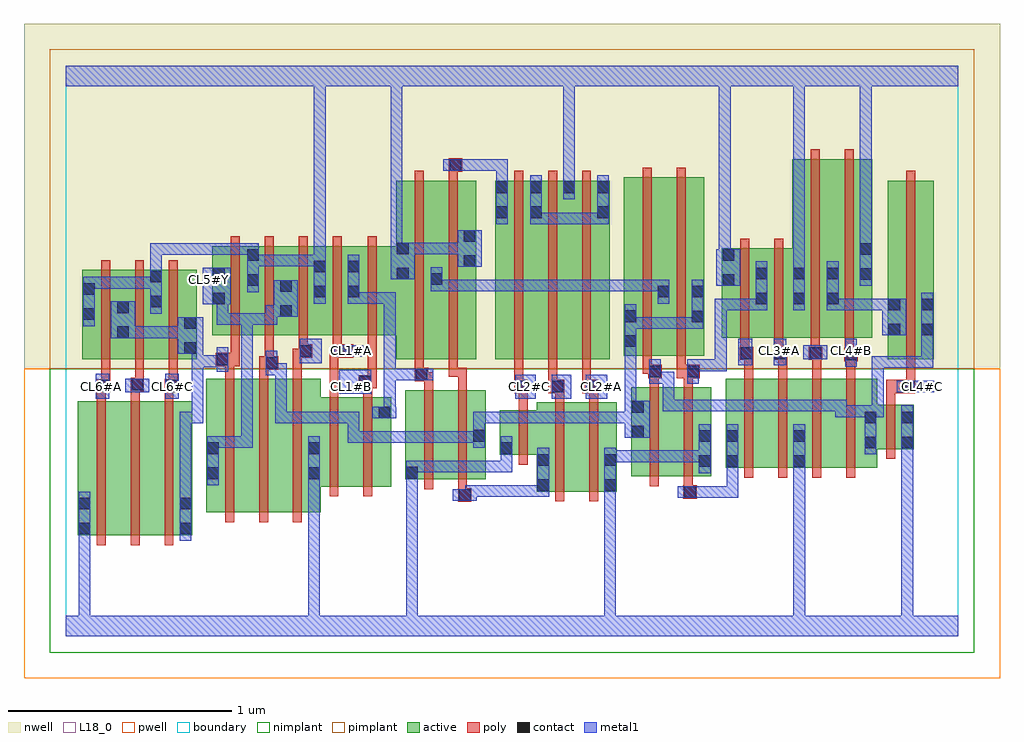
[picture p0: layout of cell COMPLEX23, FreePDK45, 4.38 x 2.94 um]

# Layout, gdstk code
import gdstk
lib = gdstk.Library(unit=1e-6, precision=1e-09)
def R(c, l, rs):  # rectangles x0, y0, x1, y1
    for r in rs: c.add(gdstk.rectangle(r[:2], r[2:], *l))
def A(c, l, x, y, w, h, nx, ny, dx, dy):  # array of equal rectangles
    R(c, l, [(x+i*dx, y+j*dy, x+i*dx+w, y+j*dy+h) for i in range(nx) for j in range(ny)])
active = (1, 0)
pwell = (2, 0)
nwell = (3, 0)
nimplant = (4, 0)
pimplant = (5, 0)
poly = (9, 0)
contact = (10, 0)
metal1 = (11, 0)
L18_0 = (18, 0)
boundary = (235, 0)

complex23 = lib.new_cell('COMPLEX23')
R(complex23, active, [(0.054,0.454,0.234,1.054), (0.054,0.454,0.114,1.054), (0.234,0.454,0.386,1.054), (0.386,0.454,0.566,1.054), (0.506,0.454,0.566,1.054), (0.63,0.556,0.81,1.156), (0.63,0.556,0.69,1.156), (0.81,0.556,0.962,1.156), (0.962,0.556,1.142,1.156), (1.082,0.6,1.142,0.874), (2.11,0.65,2.29,1.05), (2.11,0.65,2.17,1.014), (2.29,0.65,2.47,1.05), (2.41,0.65,2.47,1.05), (1.082,0.672,1.278,1.072), (1.278,0.672,1.458,1.072), (1.522,0.704,1.702,1.104), (1.522,0.704,1.582,0.764), (1.702,0.704,1.882,1.104), (2.534,0.718,2.714,1.118), (2.714,0.718,2.894,1.118), (1.398,0.756,1.458,1.072), (1.822,0.756,1.882,1.104), (2.534,0.756,2.594,1.118), (2.834,0.756,2.894,1.118), (2.958,0.756,3.138,1.156), (2.958,0.756,3.018,1.156), (3.138,0.756,3.318,1.156), (3.258,0.756,3.442,1.156), (3.258,0.756,3.318,0.928), (3.442,0.756,3.638,1.156), (3.578,0.812,3.638,1.012), (1.946,0.814,2.006,1.014), (1.946,0.814,2.17,1.014), (3.578,0.84,3.802,1.04), (3.742,0.84,3.802,1.04), (0.074,1.244,0.134,1.644), (0.074,1.244,0.286,1.644), (0.226,1.244,0.434,1.644), (0.374,1.244,0.586,1.644), (0.526,1.244,0.586,1.644), (1.48,1.244,1.692,2.044), (1.632,1.244,1.84,2.044), (1.78,1.244,1.84,2.044), (1.926,1.244,1.986,2.044), (1.926,1.244,2.138,2.044), (2.078,1.244,2.286,2.044), (2.226,1.244,2.438,2.044), (3.684,1.244,3.744,2.044), (3.684,1.244,3.892,2.044), (3.832,1.244,3.892,2.044), (2.502,1.258,2.71,2.058), (2.502,1.258,2.562,2.044), (2.65,1.258,2.71,2.058), (2.65,1.258,2.862,2.058), (2.802,1.258,2.862,2.058), (0.226,1.334,0.286,1.644), (2.94,1.34,3,1.74), (2.94,1.34,3.148,1.74), (3.088,1.34,3.148,1.74), (3.088,1.34,3.316,1.74), (3.256,1.34,3.316,2.14), (3.256,1.34,3.468,2.14), (3.408,1.34,3.616,2.14), (3.408,1.34,3.468,2.044), (3.556,1.34,3.616,2.14), (0.656,1.35,0.716,1.75), (0.656,1.35,0.868,1.75), (0.808,1.35,1.016,1.75), (0.808,1.35,0.868,1.74), (0.956,1.35,1.168,1.75), (0.956,1.35,1.016,1.644), (1.108,1.35,1.168,1.75), (1.108,1.35,1.32,1.75), (1.26,1.35,1.54,1.75), (1.26,1.35,1.32,1.688), (1.48,1.35,1.54,1.77), (0.374,1.354,0.434,1.644), (1.632,1.572,1.692,2.044), (2.078,1.682,2.138,2.044), (2.226,1.686,2.286,2.044), (2.378,1.686,2.438,2.044)])
R(complex23, pwell, [(-0.188,-0.188,4.188,1.2)])
R(complex23, nwell, [(-0.188,1.2,4.188,2.748)])
R(complex23, nimplant, [(-0.072,-0.072,4.072,1.2)])
R(complex23, pimplant, [(-0.072,1.2,4.072,2.632)])
A(complex23, poly, 0.138, 0.41, 0.04, 0.688, 3, 1, 0.152, 0)
A(complex23, poly, 0.714, 0.512, 0.04, 0.688, 3, 1, 0.152, 0)
A(complex23, poly, 3.042, 0.712, 0.04, 0.488, 4, 1, 0.152, 0)
A(complex23, poly, 2.01, 1.11, 0.04, 0.13, 3, 1, 0.152, 0)
A(complex23, poly, 3.042, 1.16, 0.04, 0.12, 3, 1, 0.152, 0)
A(complex23, poly, 0.158, 1.2, 0.04, 0.488, 3, 1, 0.152, 0)
A(complex23, poly, 2.01, 1.2, 0.04, 0.888, 3, 1, 0.152, 0)
A(complex23, poly, 0.74, 1.306, 0.04, 0.488, 4, 1, 0.152, 0)
R(complex23, poly, [(1.758,0.604,1.818,0.664), (2.194,0.606,2.234,1.094), (2.346,0.606,2.386,1.094), (2.768,0.618,2.828,0.678), (1.758,0.624,1.798,0.7), (1.182,0.628,1.222,1.116), (1.334,0.628,1.374,1.116), (2.77,0.638,2.81,0.714), (1.606,0.66,1.646,1.148), (1.758,0.66,1.798,1.148), (2.618,0.674,2.658,1.162), (2.77,0.674,2.81,1.162), (2.03,0.77,2.07,1.058), (3.678,0.796,3.718,1.084), (2.03,1.018,2.07,1.13), (3.678,1.044,3.718,1.13), (2.194,1.054,2.234,1.13), (2.346,1.054,2.386,1.13), (0.138,1.058,0.178,1.134), (0.29,1.058,0.33,1.14), (0.442,1.058,0.482,1.134), (1.182,1.076,1.222,1.29), (1.334,1.076,1.374,1.152), (2.01,1.09,2.07,1.15), (2.03,1.09,2.07,1.13), (2.03,1.09,2.07,1.13), (2.162,1.09,2.234,1.15), (2.194,1.09,2.234,1.13), (2.194,1.09,2.234,1.13), (2.314,1.09,2.386,1.15), (2.346,1.09,2.386,1.13), (2.346,1.09,2.386,1.13), (3.678,1.09,3.808,1.15), (0.138,1.094,0.178,1.134), (0.138,1.094,0.178,1.134), (0.138,1.094,0.198,1.154), (0.442,1.094,0.482,1.134), (0.442,1.094,0.482,1.134), (0.442,1.094,0.502,1.154), (0.29,1.1,0.33,1.14), (0.29,1.1,0.33,1.14), (0.29,1.1,0.35,1.16), (1.606,1.108,1.646,1.184), (1.758,1.108,1.798,1.204), (3.768,1.11,3.808,1.24), (3.768,1.11,3.808,1.15), (3.768,1.11,3.808,1.15), (1.312,1.112,1.394,1.172), (0.158,1.114,0.198,1.24), (0.462,1.114,0.502,1.24), (0.31,1.12,0.35,1.24), (2.618,1.122,2.658,1.198), (2.77,1.122,2.81,1.198), (1.354,1.132,1.394,1.172), (1.354,1.132,1.394,1.172), (1.354,1.132,1.394,1.346), (1.564,1.144,1.624,1.204), (1.584,1.144,1.624,1.184), (1.584,1.144,1.646,1.184), (2.612,1.158,2.672,1.218), (2.738,1.158,2.842,1.218), (2.77,1.158,2.81,1.198), (2.77,1.158,2.81,1.198), (0.714,1.16,0.754,1.252), (0.866,1.16,0.906,1.236), (1.018,1.16,1.058,1.29), (3.498,1.16,3.538,1.274), (1.564,1.164,1.604,1.24), (1.716,1.164,1.756,1.204), (1.716,1.164,1.756,1.204), (1.716,1.164,1.756,1.24), (1.716,1.164,1.798,1.204), (2.586,1.178,2.626,1.254), (2.586,1.178,2.652,1.218), (2.612,1.178,2.652,1.218), (2.738,1.178,2.778,1.254), (0.866,1.196,0.952,1.256), (1.564,1.2,1.604,2.088), (1.716,1.2,1.756,2.088), (3.768,1.2,3.808,2.088), (0.672,1.212,0.78,1.272), (0.714,1.212,0.754,1.252), (0.714,1.212,0.754,1.252), (2.586,1.214,2.626,2.102), (2.738,1.214,2.778,2.102), (0.892,1.216,0.932,1.346), (0.892,1.216,0.932,1.256), (0.892,1.216,0.932,1.256), (0.74,1.232,0.78,1.346), (3.49,1.234,3.55,1.294), (3.498,1.234,3.538,1.274), (3.498,1.234,3.538,1.274), (3.022,1.24,3.082,1.3), (3.042,1.24,3.082,1.28), (3.042,1.24,3.082,1.28), (3.174,1.24,3.234,1.3), (3.194,1.24,3.234,1.28), (3.194,1.24,3.234,1.28), (3.33,1.24,3.39,1.3), (3.346,1.24,3.386,1.28), (3.346,1.24,3.386,1.28), (1.018,1.25,1.084,1.29), (1.044,1.25,1.084,1.29), (1.044,1.25,1.104,1.31), (1.182,1.25,1.236,1.29), (1.196,1.25,1.236,1.29), (1.196,1.25,1.288,1.31), (3.492,1.254,3.532,1.336), (3.024,1.26,3.064,1.336), (3.176,1.26,3.216,1.336), (3.34,1.26,3.38,1.336), (1.044,1.27,1.084,1.346), (1.196,1.27,1.236,1.346), (3.024,1.296,3.064,1.784), (3.176,1.296,3.216,1.784), (3.34,1.296,3.38,2.184), (3.492,1.296,3.532,2.184), (1.354,1.306,1.394,1.794), (1.716,2.048,1.756,2.124), (1.716,2.084,1.776,2.144)])
R(complex23, contact, [(0.058,0.458,0.11,0.51), (0.51,0.458,0.562,0.51), (0.058,0.57,0.11,0.622), (0.51,0.57,0.562,0.622), (1.762,0.608,1.814,0.66), (2.772,0.622,2.824,0.674), (2.114,0.654,2.166,0.706), (2.414,0.654,2.466,0.706), (0.634,0.706,0.686,0.758), (1.086,0.706,1.138,0.758), (1.526,0.708,1.578,0.76), (2.838,0.76,2.89,0.812), (2.962,0.76,3.014,0.812), (3.262,0.76,3.314,0.812), (2.114,0.766,2.166,0.818), (2.414,0.766,2.466,0.818), (0.634,0.818,0.686,0.87), (1.086,0.818,1.138,0.87), (1.95,0.818,2.002,0.87), (3.582,0.844,3.634,0.896), (3.746,0.844,3.798,0.896), (2.838,0.872,2.89,0.924), (2.962,0.872,3.014,0.924), (3.262,0.872,3.314,0.924), (1.826,0.874,1.878,0.926), (2.538,0.892,2.59,0.944), (3.582,0.956,3.634,1.008), (3.746,0.956,3.798,1.008), (1.402,0.978,1.454,1.03), (2.538,1.004,2.59,1.056), (2.014,1.094,2.066,1.146), (2.178,1.094,2.23,1.146), (2.33,1.094,2.382,1.146), (3.752,1.094,3.804,1.146), (0.142,1.098,0.194,1.15), (0.446,1.098,0.498,1.15), (0.294,1.104,0.346,1.156), (1.316,1.116,1.368,1.168), (1.568,1.148,1.62,1.2), (2.616,1.162,2.668,1.214), (2.786,1.162,2.838,1.214), (0.896,1.2,0.948,1.252), (0.676,1.216,0.728,1.268), (3.494,1.238,3.546,1.29), (3.026,1.244,3.078,1.296), (3.178,1.244,3.23,1.296), (3.334,1.244,3.386,1.296), (1.048,1.254,1.1,1.306), (1.232,1.254,1.284,1.306), (0.53,1.268,0.582,1.32), (2.506,1.298,2.558,1.35), (0.23,1.338,0.282,1.39), (3.688,1.35,3.74,1.402), (3.836,1.35,3.888,1.402), (0.53,1.38,0.582,1.432), (2.806,1.408,2.858,1.46), (2.506,1.41,2.558,1.462), (0.078,1.42,0.13,1.472), (0.96,1.434,1.012,1.486), (0.23,1.45,0.282,1.502), (3.688,1.462,3.74,1.514), (3.836,1.462,3.888,1.514), (0.378,1.476,0.43,1.528), (0.66,1.49,0.712,1.542), (3.092,1.49,3.144,1.542), (3.26,1.49,3.312,1.542), (3.412,1.49,3.464,1.542), (1.112,1.52,1.164,1.572), (1.264,1.52,1.316,1.572), (2.654,1.52,2.706,1.572), (2.806,1.52,2.858,1.572), (0.078,1.532,0.13,1.584), (0.96,1.546,1.012,1.598), (0.812,1.572,0.864,1.624), (2.944,1.572,2.996,1.624), (1.636,1.576,1.688,1.628), (0.378,1.588,0.43,1.64), (3.56,1.6,3.612,1.652), (0.66,1.602,0.712,1.654), (1.484,1.602,1.536,1.654), (3.092,1.602,3.144,1.654), (3.26,1.602,3.312,1.654), (3.412,1.602,3.464,1.654), (1.112,1.632,1.164,1.684), (1.264,1.632,1.316,1.684), (1.784,1.658,1.836,1.71), (0.812,1.684,0.864,1.736), (2.944,1.684,2.996,1.736), (3.56,1.712,3.612,1.764), (1.484,1.714,1.536,1.766), (1.784,1.77,1.836,1.822), (1.93,1.876,1.982,1.928), (2.082,1.876,2.134,1.928), (2.382,1.876,2.434,1.928), (1.93,1.988,1.982,2.04), (2.082,1.988,2.134,2.04), (2.23,1.988,2.282,2.04), (2.382,1.988,2.434,2.04), (1.72,2.088,1.772,2.14)])
A(complex23, metal1, 1.536, 0.736, 0.052, 0.052, 3, 1, 0.11, 0)
A(complex23, metal1, 1.426, 0.868, 0.052, 0.052, 3, 1, 0.11, 0)
R(complex23, metal1, [(0,0,4,0.092), (0.058,0.04,0.11,0.092), (0.058,0.04,0.11,0.092), (0.058,0.04,0.11,0.092), (0.058,0.04,0.11,0.092), (0.058,0.04,0.11,0.092), (0.058,0.04,0.11,0.092), (0.058,0.04,0.11,0.482), (1.086,0.04,1.138,0.092), (1.086,0.04,1.138,0.092), (1.086,0.04,1.138,0.73), (1.526,0.04,1.578,0.092), (1.526,0.04,1.578,0.092), (1.526,0.04,1.578,0.092), (1.526,0.04,1.578,0.092), (1.526,0.04,1.578,0.718), (2.414,0.04,2.466,0.092), (2.414,0.04,2.466,0.092), (2.414,0.04,2.466,0.092), (2.414,0.04,2.466,0.092), (2.414,0.04,2.466,0.092), (2.414,0.04,2.466,0.092), (2.414,0.04,2.466,0.678), (3.262,0.04,3.314,0.092), (3.262,0.04,3.314,0.092), (3.262,0.04,3.314,0.092), (3.262,0.04,3.314,0.092), (3.262,0.04,3.314,0.092), (3.262,0.04,3.314,0.092), (3.262,0.04,3.314,0.092), (3.262,0.04,3.314,0.092), (3.262,0.04,3.314,0.092), (3.262,0.04,3.314,0.092), (3.262,0.04,3.314,0.784), (3.746,0.04,3.798,0.092), (3.746,0.04,3.798,0.092), (3.746,0.04,3.798,0.092), (3.746,0.04,3.798,0.092), (3.746,0.04,3.798,0.092), (3.746,0.04,3.798,0.092), (3.746,0.04,3.798,0.092), (3.746,0.04,3.798,0.092), (3.746,0.04,3.798,0.092), (3.746,0.04,3.798,0.092), (3.746,0.04,3.798,0.092), (3.746,0.04,3.798,0.092), (3.746,0.04,3.798,0.092), (3.746,0.04,3.798,0.092), (3.746,0.04,3.798,0.092), (3.746,0.04,3.798,0.092), (3.746,0.04,3.798,0.868), (0.058,0.43,0.11,0.65), (0.058,0.43,0.11,0.482), (0.058,0.43,0.11,0.482), (0.51,0.43,0.562,0.65), (0.51,0.598,0.562,1.008), (1.734,0.608,1.842,0.66), (1.79,0.608,1.842,0.66), (1.79,0.608,1.842,0.66), (1.79,0.608,1.842,0.678), (2.744,0.622,2.852,0.674), (2.8,0.622,2.852,0.674), (2.8,0.622,2.852,0.674), (2.8,0.622,3.014,0.674), (2.962,0.622,3.014,0.674), (2.962,0.622,3.014,0.784), (1.79,0.626,1.842,0.678), (1.79,0.626,1.958,0.678), (1.906,0.626,1.958,0.678), (1.906,0.626,2.112,0.678), (2.06,0.626,2.112,0.678), (2.06,0.626,2.166,0.678), (2.114,0.626,2.166,0.846), (2.414,0.626,2.466,0.846), (2.414,0.626,2.466,0.678), (2.414,0.626,2.466,0.678), (2.414,0.626,2.466,0.678), (2.414,0.626,2.466,0.678), (2.414,0.626,2.466,0.678), (2.414,0.626,2.466,0.678), (1.526,0.666,1.578,0.718), (1.526,0.666,1.578,0.718), (1.526,0.666,1.578,0.718), (1.526,0.666,1.578,0.718), (1.526,0.666,1.578,0.718), (1.526,0.666,1.578,0.718), (1.526,0.666,1.578,0.718), (1.526,0.666,1.578,0.732), (0.634,0.678,0.686,0.898), (1.086,0.678,1.138,0.898), (1.086,0.678,1.138,0.73), (1.086,0.678,1.138,0.73), (1.086,0.678,1.138,0.73), (1.086,0.678,1.138,0.73), (1.086,0.678,1.138,0.73), (1.086,0.678,1.138,0.73), (1.526,0.68,1.578,0.788), (2.838,0.732,2.89,0.952), (2.962,0.732,3.014,0.952), (3.262,0.732,3.314,0.952), (3.262,0.732,3.314,0.784), (3.262,0.732,3.314,0.784), (1.526,0.736,1.578,0.788), (1.526,0.736,1.578,0.788), (1.526,0.736,1.588,0.788), (1.536,0.736,1.698,0.788), (1.646,0.736,1.808,0.788), (1.756,0.736,1.808,0.788), (1.756,0.736,1.808,0.788), (1.756,0.736,2.002,0.788), (1.95,0.736,2.002,0.788), (1.95,0.736,2.002,0.842), (2.414,0.782,2.466,0.834), (2.414,0.782,2.466,0.834), (2.414,0.782,2.674,0.834), (2.622,0.782,2.674,0.834), (2.622,0.782,2.674,0.834), (2.622,0.782,2.674,0.834), (2.622,0.782,2.784,0.834), (2.732,0.782,2.784,0.834), (2.732,0.782,2.89,0.834), (1.95,0.79,2.002,0.898), (3.582,0.816,3.634,1.036), (3.746,0.816,3.798,1.036), (0.634,0.846,0.838,0.898), (0.786,0.846,0.838,0.898), (0.786,0.846,0.838,0.898), (0.786,0.846,0.838,0.898), (0.786,0.846,0.838,0.898), (0.786,0.846,0.838,0.898), (0.786,0.846,0.838,1.45), (1.826,0.846,1.878,0.954), (1.264,0.868,1.316,0.92), (1.264,0.868,1.316,0.92), (1.264,0.868,1.316,0.92), (1.264,0.868,1.478,0.92), (1.264,0.868,1.316,1.008), (1.426,0.868,1.478,0.92), (1.426,0.868,1.478,0.92), (1.426,0.868,1.588,0.92), (1.536,0.868,1.698,0.92), (1.646,0.868,1.698,0.92), (1.646,0.868,1.698,0.92), (1.646,0.868,1.878,0.92), (2.506,0.892,2.618,1.056), (1.826,0.902,1.878,1.008), (0.51,0.956,0.616,1.008), (0.564,0.956,0.616,1.26), (0.938,0.956,0.99,1.008), (0.938,0.956,1.058,1.008), (0.938,0.956,0.99,1.224), (1.006,0.956,1.058,1.008), (1.006,0.956,1.168,1.008), (1.116,0.956,1.168,1.008), (1.116,0.956,1.168,1.008), (1.116,0.956,1.168,1.008), (1.116,0.956,1.316,1.008), (1.264,0.956,1.316,1.008), (1.826,0.956,1.878,1.008), (1.826,0.956,1.952,1.008), (1.9,0.956,1.952,1.008), (1.9,0.956,2.096,1.008), (2.044,0.956,2.096,1.008), (2.044,0.956,2.096,1.008), (2.044,0.956,2.096,1.008), (2.044,0.956,2.244,1.008), (2.192,0.956,2.244,1.008), (2.192,0.956,2.244,1.008), (2.192,0.956,2.244,1.008), (2.192,0.956,2.356,1.008), (2.304,0.956,2.356,1.008), (2.304,0.956,2.558,1.008), (2.506,0.956,2.558,1.008), (2.506,0.956,2.558,1.008), (1.374,0.978,1.482,1.03), (1.426,0.978,1.478,1.03), (1.426,0.978,1.478,1.03), (1.426,0.978,1.478,1.2), (3.45,0.984,3.634,1.036), (3.45,0.984,3.502,1.062), (3.582,0.984,3.634,1.036), (3.582,0.984,3.634,1.036), (3.582,0.984,3.666,1.036), (3.614,0.984,3.666,1.036), (3.614,0.984,3.666,1.256), (2.506,1.004,2.558,1.322), (2.676,1.01,2.728,1.062), (2.676,1.01,2.852,1.062), (2.676,1.01,2.728,1.186), (2.8,1.01,2.852,1.062), (2.8,1.01,2.852,1.062), (2.8,1.01,2.852,1.062), (2.8,1.01,3.01,1.062), (2.958,1.01,3.01,1.062), (2.958,1.01,3.01,1.062), (2.958,1.01,3.01,1.062), (2.958,1.01,3.202,1.062), (3.15,1.01,3.202,1.062), (3.15,1.01,3.202,1.062), (3.15,1.01,3.202,1.062), (3.15,1.01,3.354,1.062), (3.302,1.01,3.354,1.062), (3.302,1.01,3.354,1.062), (3.302,1.01,3.354,1.062), (3.302,1.01,3.502,1.062), (3.45,1.01,3.502,1.062), (3.45,1.01,3.502,1.062), (0.134,1.066,0.194,1.178), (0.446,1.066,0.506,1.178), (2.014,1.066,2.106,1.174), (2.178,1.066,2.266,1.174), (2.33,1.066,2.426,1.174), (1.226,1.088,1.368,1.196), (0.266,1.094,0.374,1.156), (3.724,1.094,3.894,1.146), (2.616,1.134,2.668,1.242), (2.616,1.134,2.728,1.186), (2.676,1.134,2.728,1.186), (2.786,1.134,2.838,1.242), (1.426,1.148,1.478,1.2), (1.426,1.148,1.478,1.2), (1.426,1.148,1.478,1.2), (1.426,1.148,1.592,1.2), (1.426,1.148,1.478,1.544), (1.54,1.148,1.648,1.2), (0.896,1.172,0.948,1.28), (0.896,1.172,0.99,1.224), (0.938,1.172,0.99,1.224), (0.676,1.188,0.728,1.296), (2.786,1.19,2.838,1.242), (2.786,1.19,2.838,1.242), (2.786,1.19,2.962,1.242), (2.91,1.19,2.962,1.242), (2.91,1.19,2.962,1.514), (3.614,1.204,3.666,1.256), (3.614,1.204,3.888,1.256), (3.836,1.204,3.888,1.374), (3.836,1.204,3.888,1.256), (3.836,1.204,3.888,1.256), (3.836,1.204,3.888,1.256), (0.564,1.208,0.616,1.26), (0.564,1.208,0.728,1.26), (0.564,1.208,0.616,1.32), (0.676,1.208,0.728,1.26), (0.676,1.208,0.728,1.26), (3.494,1.21,3.546,1.334), (3.014,1.216,3.078,1.334), (3.174,1.216,3.23,1.334), (1.048,1.226,1.146,1.334), (3.306,1.244,3.414,1.306), (1.204,1.254,1.334,1.306), (0.502,1.268,0.616,1.432), (2.506,1.27,2.558,1.49), (2.506,1.27,2.558,1.322), (2.506,1.27,2.558,1.322), (2.506,1.27,2.558,1.322), (2.506,1.27,2.558,1.322), (3.836,1.322,3.888,1.542), (0.202,1.338,0.31,1.502), (0.258,1.338,0.31,1.39), (0.258,1.338,0.31,1.39), (0.258,1.338,0.42,1.39), (0.368,1.338,0.42,1.39), (0.368,1.338,0.42,1.39), (0.368,1.338,0.42,1.39), (0.368,1.338,0.554,1.39), (3.66,1.35,3.768,1.514), (2.506,1.38,2.674,1.432), (2.622,1.38,2.674,1.432), (2.622,1.38,2.674,1.432), (2.622,1.38,2.674,1.432), (2.622,1.38,2.852,1.432), (2.8,1.38,2.852,1.432), (2.8,1.38,2.858,1.432), (2.806,1.38,2.858,1.6), (0.078,1.392,0.13,1.612), (0.676,1.398,0.728,1.45), (0.676,1.398,0.838,1.45), (0.676,1.398,0.728,1.542), (0.786,1.398,0.838,1.45), (0.786,1.398,0.838,1.45), (0.786,1.398,0.838,1.45), (0.786,1.398,0.838,1.45), (0.786,1.398,0.838,1.45), (0.786,1.398,0.948,1.45), (0.896,1.398,0.948,1.486), (0.896,1.434,0.984,1.486), (0.932,1.434,1.04,1.598), (0.378,1.448,0.43,1.668), (2.91,1.462,2.962,1.514), (2.91,1.462,3.092,1.514), (3.04,1.462,3.092,1.514), (3.04,1.462,3.144,1.514), (3.092,1.462,3.144,1.682), (3.26,1.462,3.312,1.682), (3.412,1.462,3.464,1.682), (3.412,1.462,3.464,1.514), (3.412,1.462,3.464,1.514), (3.412,1.462,3.63,1.514), (3.578,1.462,3.63,1.514), (3.578,1.462,3.712,1.514), (0.614,1.49,0.74,1.654), (1.112,1.492,1.164,1.712), (1.264,1.492,1.316,1.712), (1.264,1.492,1.316,1.544), (1.264,1.492,1.316,1.544), (1.264,1.492,1.478,1.544), (1.426,1.492,1.478,1.544), (1.426,1.492,1.478,1.544), (1.426,1.492,1.478,1.544), (2.654,1.492,2.706,1.6), (0.812,1.544,0.864,1.764), (1.636,1.548,1.818,1.6), (1.636,1.548,1.688,1.656), (1.766,1.548,1.818,1.6), (1.766,1.548,1.818,1.6), (1.766,1.548,1.818,1.6), (1.766,1.548,1.952,1.6), (1.9,1.548,1.952,1.6), (1.9,1.548,2.12,1.6), (2.068,1.548,2.12,1.6), (2.068,1.548,2.12,1.6), (2.068,1.548,2.12,1.6), (2.068,1.548,2.246,1.6), (2.194,1.548,2.246,1.6), (2.194,1.548,2.246,1.6), (2.194,1.548,2.246,1.6), (2.194,1.548,2.356,1.6), (2.304,1.548,2.356,1.6), (2.304,1.548,2.38,1.6), (2.328,1.548,2.38,1.6), (2.328,1.548,2.38,1.6), (2.328,1.548,2.38,1.6), (2.328,1.548,2.47,1.6), (2.418,1.548,2.47,1.6), (2.418,1.548,2.668,1.6), (2.616,1.548,2.668,1.6), (2.616,1.548,2.706,1.6), (0.078,1.56,0.13,1.612), (0.078,1.56,0.13,1.612), (0.078,1.56,0.31,1.612), (0.258,1.56,0.31,1.612), (0.258,1.56,0.31,1.612), (0.258,1.56,0.31,1.612), (0.258,1.56,0.43,1.612), (2.916,1.572,3.024,1.736), (3.56,1.572,3.612,1.792), (1.456,1.602,1.564,1.766), (0.378,1.616,0.43,1.668), (0.378,1.616,0.43,1.764), (3.26,1.63,3.312,2.52), (1.756,1.658,1.864,1.822), (0.812,1.66,0.948,1.712), (0.896,1.66,0.948,1.712), (0.896,1.66,1.028,1.712), (0.976,1.66,1.028,1.712), (0.976,1.66,1.058,1.712), (1.006,1.66,1.058,1.712), (1.006,1.66,1.164,1.712), (1.112,1.66,1.164,1.712), (1.112,1.66,1.164,1.712), (1.112,1.66,1.164,1.712), (1.112,1.66,1.164,1.712), (1.112,1.66,1.164,1.712), (1.112,1.66,1.164,1.712), (1.112,1.66,1.164,2.52), (2.928,1.684,2.98,2.52), (0.378,1.712,0.556,1.764), (0.504,1.712,0.556,1.764), (0.504,1.712,0.726,1.764), (0.674,1.712,0.726,1.764), (0.674,1.712,0.726,1.764), (0.674,1.712,0.726,1.764), (0.674,1.712,0.864,1.764), (1.456,1.714,1.508,2.52), (1.512,1.714,1.588,1.766), (1.536,1.714,1.588,1.766), (1.536,1.714,1.688,1.766), (1.636,1.714,1.688,1.766), (1.636,1.714,1.808,1.766), (1.756,1.714,1.808,1.766), (1.756,1.714,1.808,1.766), (3.56,1.74,3.612,2.52), (1.93,1.848,1.982,2.068), (2.082,1.848,2.134,2.068), (2.082,1.848,2.244,1.9), (2.192,1.848,2.244,1.9), (2.192,1.848,2.244,1.9), (2.192,1.848,2.244,1.9), (2.192,1.848,2.356,1.9), (2.304,1.848,2.356,1.9), (2.304,1.848,2.434,1.9), (2.382,1.848,2.434,2.068), (2.23,1.96,2.282,2.068), (1.93,2.016,1.982,2.14), (2.23,2.016,2.282,2.52), (1.692,2.088,1.8,2.14), (1.748,2.088,1.808,2.14), (1.756,2.088,1.808,2.14), (1.756,2.088,1.982,2.14), (1.93,2.088,1.982,2.14), (0,2.468,4,2.56), (1.112,2.468,1.164,2.52), (1.112,2.468,1.164,2.52), (1.112,2.468,1.164,2.52), (1.112,2.468,1.164,2.52), (1.112,2.468,1.164,2.52), (1.112,2.468,1.164,2.52), (1.112,2.468,1.164,2.52), (1.112,2.468,1.164,2.52), (1.112,2.468,1.164,2.52), (1.112,2.468,1.164,2.52), (1.456,2.468,1.508,2.52), (1.456,2.468,1.508,2.52), (1.456,2.468,1.508,2.52), (1.456,2.468,1.508,2.52), (1.456,2.468,1.508,2.52), (1.456,2.468,1.508,2.52), (1.456,2.468,1.508,2.52), (1.456,2.468,1.508,2.52), (2.23,2.468,2.282,2.52), (2.23,2.468,2.282,2.52), (2.23,2.468,2.282,2.52), (2.23,2.468,2.282,2.52), (2.23,2.468,2.282,2.52), (2.23,2.468,2.282,2.52), (2.23,2.468,2.282,2.52), (2.23,2.468,2.282,2.52), (2.928,2.468,2.98,2.52), (2.928,2.468,2.98,2.52), (2.928,2.468,2.98,2.52), (2.928,2.468,2.98,2.52), (2.928,2.468,2.98,2.52), (2.928,2.468,2.98,2.52), (2.928,2.468,2.98,2.52), (2.928,2.468,2.98,2.52), (2.928,2.468,2.98,2.52), (2.928,2.468,2.98,2.52), (2.928,2.468,2.98,2.52), (2.928,2.468,2.98,2.52), (2.928,2.468,2.98,2.52), (2.928,2.468,2.98,2.52), (2.928,2.468,2.98,2.52), (2.928,2.468,2.98,2.52), (3.26,2.468,3.312,2.52), (3.26,2.468,3.312,2.52), (3.26,2.468,3.312,2.52), (3.26,2.468,3.312,2.52), (3.26,2.468,3.312,2.52), (3.26,2.468,3.312,2.52), (3.26,2.468,3.312,2.52), (3.26,2.468,3.312,2.52), (3.56,2.468,3.612,2.52), (3.56,2.468,3.612,2.52), (3.56,2.468,3.612,2.52), (3.56,2.468,3.612,2.52), (3.56,2.468,3.612,2.52), (3.56,2.468,3.612,2.52), (3.56,2.468,3.612,2.52), (3.56,2.468,3.612,2.52)])
A(complex23, L18_0, 1.536, 0.736, 0.052, 0.052, 3, 1, 0.11, 0)
A(complex23, L18_0, 0.134, 1.094, 0.052, 0.052, 3, 1, 0.16, 0)
A(complex23, L18_0, 2.054, 1.094, 0.052, 0.052, 3, 1, 0.16, 0)
A(complex23, L18_0, 3.014, 1.254, 0.052, 0.052, 4, 1, 0.16, 0)
R(complex23, L18_0, [(0,0,4,0.092), (0.058,0.04,0.11,0.092), (0.058,0.04,0.11,0.092), (0.058,0.04,0.11,0.092), (0.058,0.04,0.11,0.092), (0.058,0.04,0.11,0.092), (0.058,0.04,0.11,0.092), (0.058,0.04,0.11,0.482), (1.086,0.04,1.138,0.092), (1.086,0.04,1.138,0.092), (1.086,0.04,1.138,0.73), (1.526,0.04,1.578,0.092), (1.526,0.04,1.578,0.092), (1.526,0.04,1.578,0.092), (1.526,0.04,1.578,0.092), (1.526,0.04,1.578,0.718), (2.414,0.04,2.466,0.092), (2.414,0.04,2.466,0.092), (2.414,0.04,2.466,0.092), (2.414,0.04,2.466,0.092), (2.414,0.04,2.466,0.092), (2.414,0.04,2.466,0.092), (2.414,0.04,2.466,0.678), (3.262,0.04,3.314,0.092), (3.262,0.04,3.314,0.092), (3.262,0.04,3.314,0.092), (3.262,0.04,3.314,0.092), (3.262,0.04,3.314,0.092), (3.262,0.04,3.314,0.092), (3.262,0.04,3.314,0.092), (3.262,0.04,3.314,0.092), (3.262,0.04,3.314,0.092), (3.262,0.04,3.314,0.092), (3.262,0.04,3.314,0.784), (3.746,0.04,3.798,0.092), (3.746,0.04,3.798,0.092), (3.746,0.04,3.798,0.092), (3.746,0.04,3.798,0.092), (3.746,0.04,3.798,0.092), (3.746,0.04,3.798,0.092), (3.746,0.04,3.798,0.092), (3.746,0.04,3.798,0.092), (3.746,0.04,3.798,0.092), (3.746,0.04,3.798,0.092), (3.746,0.04,3.798,0.092), (3.746,0.04,3.798,0.092), (3.746,0.04,3.798,0.092), (3.746,0.04,3.798,0.092), (3.746,0.04,3.798,0.092), (3.746,0.04,3.798,0.092), (3.746,0.04,3.798,0.868), (0.058,0.43,0.11,0.482), (0.058,0.43,0.11,0.482), (0.058,0.43,0.11,0.65), (2.414,0.626,2.466,0.678), (2.414,0.626,2.466,0.678), (2.414,0.626,2.466,0.678), (2.414,0.626,2.466,0.678), (2.414,0.626,2.466,0.678), (2.414,0.626,2.466,0.678), (2.414,0.626,2.466,0.846), (1.526,0.666,1.578,0.718), (1.526,0.666,1.578,0.718), (1.526,0.666,1.578,0.718), (1.526,0.666,1.578,0.718), (1.526,0.666,1.578,0.718), (1.526,0.666,1.578,0.718), (1.526,0.666,1.578,0.718), (1.526,0.666,1.578,0.732), (0.634,0.678,0.686,0.898), (1.086,0.678,1.138,0.73), (1.086,0.678,1.138,0.73), (1.086,0.678,1.138,0.73), (1.086,0.678,1.138,0.73), (1.086,0.678,1.138,0.73), (1.086,0.678,1.138,0.73), (1.086,0.678,1.138,0.898), (1.526,0.68,1.578,0.788), (2.838,0.732,2.89,0.952), (3.262,0.732,3.314,0.784), (3.262,0.732,3.314,0.784), (3.262,0.732,3.314,0.952), (1.526,0.736,1.578,0.788), (1.526,0.736,1.578,0.788), (1.526,0.736,1.588,0.788), (1.536,0.736,1.698,0.788), (1.646,0.736,1.808,0.788), (1.756,0.736,1.808,0.788), (1.756,0.736,1.808,0.788), (1.756,0.736,2.002,0.788), (1.95,0.736,2.002,0.788), (1.95,0.736,2.002,0.842), (2.414,0.782,2.466,0.834), (2.414,0.782,2.466,0.834), (2.414,0.782,2.674,0.834), (2.622,0.782,2.674,0.834), (2.622,0.782,2.674,0.834), (2.622,0.782,2.674,0.834), (2.622,0.782,2.784,0.834), (2.732,0.782,2.784,0.834), (2.732,0.782,2.89,0.834), (1.95,0.79,2.002,0.898), (3.746,0.816,3.798,1.036), (0.634,0.846,0.838,0.898), (0.786,0.846,0.838,0.898), (0.786,0.846,0.838,0.898), (0.786,0.846,0.838,0.898), (0.786,0.846,0.838,0.898), (0.786,0.846,0.838,0.898), (0.786,0.846,0.838,1.45), (0.134,1.066,0.194,1.178), (0.446,1.066,0.506,1.178), (2.014,1.066,2.106,1.174), (2.178,1.066,2.266,1.174), (2.33,1.066,2.426,1.174), (1.226,1.088,1.368,1.196), (0.266,1.094,0.374,1.156), (1.254,1.094,1.306,1.146), (3.724,1.094,3.894,1.146), (3.814,1.094,3.866,1.146), (3.494,1.21,3.546,1.334), (3.014,1.216,3.078,1.334), (3.174,1.216,3.23,1.334), (1.048,1.226,1.146,1.334), (3.306,1.244,3.414,1.306), (1.094,1.254,1.146,1.306), (1.204,1.254,1.334,1.306), (1.254,1.254,1.306,1.306), (0.078,1.392,0.13,1.612), (0.676,1.398,0.728,1.45), (0.676,1.398,0.728,1.542), (0.676,1.398,0.838,1.45), (0.786,1.398,0.838,1.45), (0.786,1.398,0.838,1.45), (0.786,1.398,0.838,1.45), (0.786,1.398,0.838,1.45), (0.786,1.398,0.838,1.45), (0.786,1.398,0.948,1.45), (0.896,1.398,0.948,1.486), (0.896,1.434,0.984,1.486), (0.932,1.434,1.04,1.598), (0.378,1.448,0.43,1.668), (3.26,1.462,3.312,1.682), (0.614,1.49,0.74,1.654), (1.112,1.492,1.164,1.712), (0.812,1.544,0.864,1.764), (0.078,1.56,0.13,1.612), (0.078,1.56,0.13,1.612), (0.078,1.56,0.31,1.612), (0.258,1.56,0.31,1.612), (0.258,1.56,0.31,1.612), (0.258,1.56,0.31,1.612), (0.258,1.56,0.43,1.612), (2.916,1.572,3.024,1.736), (3.56,1.572,3.612,1.792), (0.614,1.574,0.666,1.626), (1.456,1.602,1.564,1.766), (0.378,1.616,0.43,1.668), (0.378,1.616,0.43,1.764), (3.26,1.63,3.312,2.52), (1.756,1.658,1.864,1.822), (0.812,1.66,0.948,1.712), (0.896,1.66,0.948,1.712), (0.896,1.66,1.028,1.712), (0.976,1.66,1.028,1.712), (0.976,1.66,1.058,1.712), (1.006,1.66,1.058,1.712), (1.006,1.66,1.164,1.712), (1.112,1.66,1.164,1.712), (1.112,1.66,1.164,1.712), (1.112,1.66,1.164,1.712), (1.112,1.66,1.164,1.712), (1.112,1.66,1.164,1.712), (1.112,1.66,1.164,1.712), (1.112,1.66,1.164,2.52), (2.928,1.684,2.98,2.52), (0.378,1.712,0.556,1.764), (0.504,1.712,0.556,1.764), (0.504,1.712,0.726,1.764), (0.674,1.712,0.726,1.764), (0.674,1.712,0.726,1.764), (0.674,1.712,0.726,1.764), (0.674,1.712,0.864,1.764), (1.456,1.714,1.508,2.52), (1.512,1.714,1.588,1.766), (1.536,1.714,1.588,1.766), (1.536,1.714,1.688,1.766), (1.636,1.714,1.688,1.766), (1.636,1.714,1.808,1.766), (1.756,1.714,1.808,1.766), (1.756,1.714,1.808,1.766), (3.56,1.74,3.612,2.52), (2.23,1.96,2.282,2.068), (2.23,2.016,2.282,2.52), (0,2.468,4,2.56), (1.112,2.468,1.164,2.52), (1.112,2.468,1.164,2.52), (1.112,2.468,1.164,2.52), (1.112,2.468,1.164,2.52), (1.112,2.468,1.164,2.52), (1.112,2.468,1.164,2.52), (1.112,2.468,1.164,2.52), (1.112,2.468,1.164,2.52), (1.112,2.468,1.164,2.52), (1.112,2.468,1.164,2.52), (1.456,2.468,1.508,2.52), (1.456,2.468,1.508,2.52), (1.456,2.468,1.508,2.52), (1.456,2.468,1.508,2.52), (1.456,2.468,1.508,2.52), (1.456,2.468,1.508,2.52), (1.456,2.468,1.508,2.52), (1.456,2.468,1.508,2.52), (2.23,2.468,2.282,2.52), (2.23,2.468,2.282,2.52), (2.23,2.468,2.282,2.52), (2.23,2.468,2.282,2.52), (2.23,2.468,2.282,2.52), (2.23,2.468,2.282,2.52), (2.23,2.468,2.282,2.52), (2.23,2.468,2.282,2.52), (2.928,2.468,2.98,2.52), (2.928,2.468,2.98,2.52), (2.928,2.468,2.98,2.52), (2.928,2.468,2.98,2.52), (2.928,2.468,2.98,2.52), (2.928,2.468,2.98,2.52), (2.928,2.468,2.98,2.52), (2.928,2.468,2.98,2.52), (2.928,2.468,2.98,2.52), (2.928,2.468,2.98,2.52), (2.928,2.468,2.98,2.52), (2.928,2.468,2.98,2.52), (2.928,2.468,2.98,2.52), (2.928,2.468,2.98,2.52), (2.928,2.468,2.98,2.52), (2.928,2.468,2.98,2.52), (3.26,2.468,3.312,2.52), (3.26,2.468,3.312,2.52), (3.26,2.468,3.312,2.52), (3.26,2.468,3.312,2.52), (3.26,2.468,3.312,2.52), (3.26,2.468,3.312,2.52), (3.26,2.468,3.312,2.52), (3.26,2.468,3.312,2.52), (3.56,2.468,3.612,2.52), (3.56,2.468,3.612,2.52), (3.56,2.468,3.612,2.52), (3.56,2.468,3.612,2.52), (3.56,2.468,3.612,2.52), (3.56,2.468,3.612,2.52), (3.56,2.468,3.612,2.52), (3.56,2.468,3.612,2.52)])
R(complex23, boundary, [(0,0,4,2.56)])
complex23.add(gdstk.Label('CL1#A', (1.28,1.28), layer=11, texttype=0))
complex23.add(gdstk.Label('CL1#B', (1.28,1.12), layer=11, texttype=0))
complex23.add(gdstk.Label('CL2#A', (2.4,1.12), layer=11, texttype=0))
complex23.add(gdstk.Label('CL2#B', (2.24,1.12), layer=11, texttype=0))
complex23.add(gdstk.Label('CL2#C', (2.08,1.12), layer=11, texttype=0))
complex23.add(gdstk.Label('CL3#A', (3.2,1.28), layer=11, texttype=0))
complex23.add(gdstk.Label('CL3#B', (3.04,1.28), layer=11, texttype=0))
complex23.add(gdstk.Label('CL4#A', (3.36,1.28), layer=11, texttype=0))
complex23.add(gdstk.Label('CL4#B', (3.52,1.28), layer=11, texttype=0))
complex23.add(gdstk.Label('CL4#C', (3.84,1.12), layer=11, texttype=0))
complex23.add(gdstk.Label('CL5#A', (1.12,1.28), layer=11, texttype=0))
complex23.add(gdstk.Label('CL5#Y', (0.64,1.6), layer=11, texttype=0))
complex23.add(gdstk.Label('CL6#A', (0.16,1.12), layer=11, texttype=0))
complex23.add(gdstk.Label('CL6#B', (0.32,1.12), layer=11, texttype=0))
complex23.add(gdstk.Label('CL6#C', (0.48,1.12), layer=11, texttype=0))

lib.write_gds('COMPLEX23.gds')
